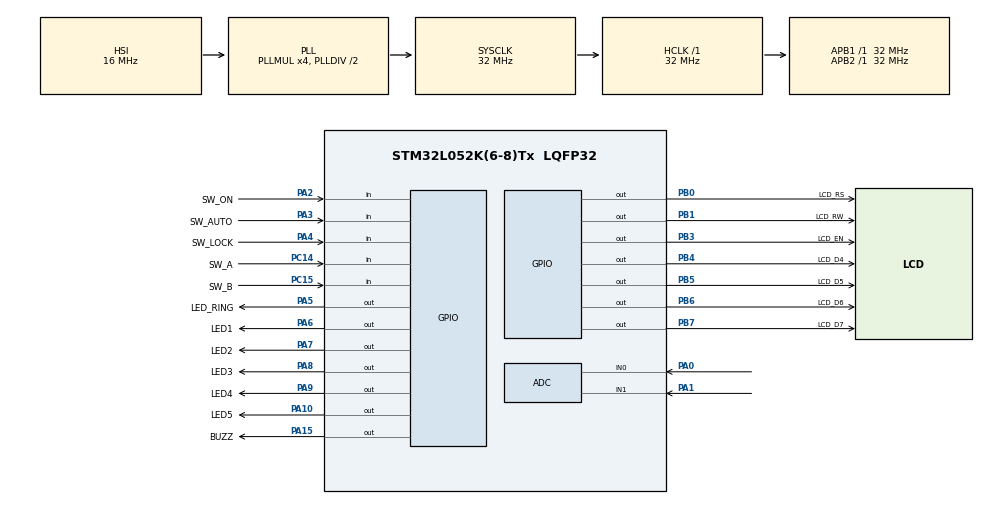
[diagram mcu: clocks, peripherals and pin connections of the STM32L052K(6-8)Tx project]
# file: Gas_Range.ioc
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ADC.SamplingTime=ADC_SAMPLETIME_160CYCLES_5
Mcu.Family=STM32L0
Mcu.Name=STM32L052K(6-8)Tx
Mcu.Package=LQFP32
PA0.Mode=IN0
PA0.Signal=ADC_IN0
PA1.Mode=IN1
PA1.Signal=ADC_IN1
PA10.GPIO_Label=LED5
PA10.GPIO_Speed=GPIO_SPEED_FREQ_VERY_HIGH
PA10.PinState=GPIO_PIN_SET
PA10.Signal=GPIO_Output
PA13.Mode=Serial_Wire
PA13.Signal=SYS_SWDIO
PA14.Mode=Serial_Wire
PA14.Signal=SYS_SWCLK
PA15.GPIO_Label=BUZZ
PA15.GPIO_Speed=GPIO_SPEED_FREQ_VERY_HIGH
PA15.Signal=GPIO_Output
PA2.GPIO_Label=SW_ON
PA2.GPIO_PuPd=GPIO_PULLUP
PA2.Signal=GPIO_Input
PA3.GPIO_Label=SW_AUTO
PA3.GPIO_PuPd=GPIO_PULLUP
PA3.Signal=GPIO_Input
PA4.GPIO_Label=SW_LOCK
PA4.GPIO_PuPd=GPIO_PULLUP
PA4.Signal=GPIO_Input
PA5.GPIO_Label=LED_RING
PA5.GPIO_ModeDefaultOutputPP=GPIO_MODE_OUTPUT_OD
PA5.GPIO_Speed=GPIO_SPEED_FREQ_VERY_HIGH
PA5.Signal=GPIO_Output
PA6.GPIO_Label=LED1
PA6.GPIO_Speed=GPIO_SPEED_FREQ_VERY_HIGH
PA6.PinState=GPIO_PIN_SET
PA6.Signal=GPIO_Output
PA7.GPIO_Label=LED2
PA7.GPIO_Speed=GPIO_SPEED_FREQ_VERY_HIGH
PA7.PinState=GPIO_PIN_SET
PA7.Signal=GPIO_Output
PA8.GPIO_Label=LED3
PA8.GPIO_Speed=GPIO_SPEED_FREQ_VERY_HIGH
PA8.PinState=GPIO_PIN_SET
PA8.Signal=GPIO_Output
PA9.GPIO_Label=LED4
PA9.GPIO_Speed=GPIO_SPEED_FREQ_VERY_HIGH
PA9.PinState=GPIO_PIN_SET
PA9.Signal=GPIO_Output
PB0.GPIO_Label=LCD_RS
PB0.GPIO_Speed=GPIO_SPEED_FREQ_VERY_HIGH
PB0.Signal=GPIO_Output
PB1.GPIO_Label=LCD_RW
PB1.GPIO_Speed=GPIO_SPEED_FREQ_VERY_HIGH
PB1.Signal=GPIO_Output
PB3.GPIO_Label=LCD_EN
PB3.GPIO_Speed=GPIO_SPEED_FREQ_VERY_HIGH
PB3.Signal=GPIO_Output
PB4.GPIO_Label=LCD_D4
PB4.GPIO_Speed=GPIO_SPEED_FREQ_VERY_HIGH
PB4.Signal=GPIO_Output
PB5.GPIO_Label=LCD_D5
PB5.GPIO_Speed=GPIO_SPEED_FREQ_VERY_HIGH
PB5.Signal=GPIO_Output
PB6.GPIO_Label=LCD_D6
PB6.GPIO_Speed=GPIO_SPEED_FREQ_VERY_HIGH
PB6.Signal=GPIO_Output
PB7.GPIO_Label=LCD_D7
PB7.GPIO_Speed=GPIO_SPEED_FREQ_VERY_HIGH
PB7.Signal=GPIO_Output
PC14-OSC32_IN.GPIO_Label=SW_A
PC14-OSC32_IN.GPIO_PuPd=GPIO_PULLUP
PC14-OSC32_IN.Signal=GPIO_Input
PC15-OSC32_OUT.GPIO_Label=SW_B
PC15-OSC32_OUT.GPIO_PuPd=GPIO_PULLUP
PC15-OSC32_OUT.Signal=GPIO_Input
ProjectManager.HeapSize=0x200
ProjectManager.StackSize=0x400
ProjectManager.TargetToolchain=TrueSTUDIO
RCC.AHBFreq_Value=32000000
RCC.APB1Freq_Value=32000000
RCC.APB1TimFreq_Value=32000000
RCC.APB2Freq_Value=32000000
RCC.APB2TimFreq_Value=32000000
RCC.HCLKFreq_Value=32000000
RCC.HSI16_VALUE=16000000
RCC.HSI48_VALUE=48000000
RCC.HSI_VALUE=16000000
RCC.LSE_VALUE=32768
RCC.MSI_VALUE=2097000
RCC.PLLMUL=RCC_PLLMUL_4
RCC.SYSCLKFreq_VALUE=32000000
RCC.SYSCLKSource=RCC_SYSCLKSOURCE_PLLCLK
RCC.VCOOutputFreq_Value=64000000
board=custom

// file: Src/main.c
/* USER CODE BEGIN Header */
/**
 ******************************************************************************
 * @file           : main.c
 * @brief          : Main program body
 ******************************************************************************
 * @attention
 *
 * <h2><center>&copy; Copyright (c) 2020 STMicroelectronics.
 * All rights reserved.</center></h2>
 *
 * This software component is licensed by ST under BSD 3-Clause license,
 * the "License"; You may not use this file except in compliance with the
 * License. You may obtain a copy of the License at:
 *                        opensource.org/licenses/BSD-3-Clause
 *
 ******************************************************************************
 */
/* USER CODE END Header */

#include "main.h"

/* USER CODE BEGIN Includes */
#include <stdio.h>
#include "lcd1602.h"
#include "control_hardware.h"
/* USER CODE END Includes */

/* USER CODE BEGIN PD */

#define OFF 0
#define ON 1
#define ON_NONE 2
#define OVER_HEAT 3
#define AUTO_ADJ 4
#define SAFE_LOCK 5

#define B_TEMP 20

#define CDS 0
#define VR 1

#define CDS_LIMIT 3000

#define SW1 ((SW_ON_GPIO_Port->IDR) & SW_ON_Pin)
#define SW2 ((SW_LOCK_GPIO_Port->IDR) & SW_LOCK_Pin)
#define SW3 ((SW_AUTO_GPIO_Port->IDR) & SW_AUTO_Pin)
#define SW4 ((SW_A_GPIO_Port->IDR) & SW_A_Pin)
#define SW5 ((SW_B_GPIO_Port->IDR) & SW_B_Pin)

#define BUZZ_ON BUZZ_GPIO_Port->BSRR |= BUZZ_Pin;
#define BUZZ_OFF BUZZ_GPIO_Port->BRR |= BUZZ_Pin;

#define LED1_OFF LED1_GPIO_Port->BSRR |= LED1_Pin;
#define LED1_ON LED1_GPIO_Port->BRR |= LED1_Pin;
#define LED2_OFF LED2_GPIO_Port->BSRR |= LED2_Pin;
#define LED2_ON LED2_GPIO_Port->BRR |= LED2_Pin;
#define LED3_OFF LED3_GPIO_Port->BSRR |= LED3_Pin;
#define LED3_ON LED3_GPIO_Port->BRR |= LED3_Pin;
#define LED4_OFF LED4_GPIO_Port->BSRR |= LED4_Pin;
#define LED4_ON LED4_GPIO_Port->BRR |= LED4_Pin;
#define LED5_OFF LED5_GPIO_Port->BSRR |= LED5_Pin;
#define LED5_ON LED5_GPIO_Port->BRR |= LED5_Pin;

/* USER CODE END PD */

ADC_HandleTypeDef hadc;

/* USER CODE BEGIN PV */

int16_t vr;
uint8_t status=0, power=0, auto_adj=0, safe_lock=0, over_heat=0;
uint16_t temper=20, a_temper=20, auto_temper=220, temper_upspeed=900, temper_dnspeed=2900;
uint8_t i, fire=0, fire_ring=0, sw_flag=0, alarm_flag=0;

const char *status_fonts[6]={"OFF      ","ON       ","ON(NONE) ","OVER HEAT","AUTO ADJ ","SAFE LOCK"};

uint32_t r_count, up_count, dn_count, b_count, a_count;

char temp[40];
char temp2[40];
char temp3[40];

char lcd_buff[40];
uint32_t led_ring_data[12];

/* USER CODE END PV */

void SystemClock_Config(void);
static void MX_GPIO_Init(void);
static void MX_ADC_Init(void);

/* USER CODE BEGIN 0 */
uint16_t read_adc(uint8_t x)
{
  uint16_t adc[2];

  HAL_ADC_Start(&hadc);
  HAL_ADC_PollForConversion(&hadc, 1000);
  adc[0]=HAL_ADC_GetValue(&hadc);
  HAL_ADC_PollForConversion(&hadc, 1000);
  adc[1]=HAL_ADC_GetValue(&hadc);
  HAL_ADC_Stop(&hadc);

  return adc[x];
}

void status_cal()
{
  if(over_heat) status=OVER_HEAT;
  else if(safe_lock) status=SAFE_LOCK;
  else if(power==0) status=OFF;
  else if(power && (read_adc(CDS)<CDS_LIMIT)) status=ON_NONE;
  else if(auto_adj && (read_adc(CDS)>=CDS_LIMIT)) status=AUTO_ADJ;
  else if(power && (read_adc(CDS)>=CDS_LIMIT)) status=ON;
}

void lcd_dis()
{
  sprintf(temp,"TEMP:%03d%cC  %c:%d ", temper, 0xDF, 1, fire);
  sprintf(temp2,"%03d",a_temper);
  lcd_gotoxy(1,1); lcd_puts(temp);
  lcd_gotoxy(1,2); lcd_puts("[");
  lcd_gotoxy(11,2); lcd_puts("][");
  lcd_gotoxy(16,2); lcd_puts("]");
  lcd_gotoxy(2,2); lcd_puts(status_fonts[status]);
  lcd_gotoxy(13,2); lcd_puts(temp2);
}

void led_ring()
{
  if((HAL_GetTick()-r_count)>=100)
  {
    if(fire!=fire_ring)
    {
      if(fire>fire_ring) fire_ring++;
      else fire_ring--;
    }

    if(fire_ring>0)
    {
      if(fire_ring<=3)
      {
        for(i=1; i<12; i+=2)
        {
          led_ring_data[i]=led_ring_rgb(0,0,0);
        }
        for(i=2; i<12; i+=4)
        {
          led_ring_data[i]=led_ring_rgb(0,0,0);
        }

        if(fire_ring==1) {led_ring_data[0]=led_ring_data[4]=led_ring_data[8]=led_ring_rgb(0,0,13);}
        else if(fire_ring==2) {led_ring_data[0]=led_ring_data[4]=led_ring_data[8]=led_ring_rgb(0,0,76);}
        else {led_ring_data[0]=led_ring_data[4]=led_ring_data[8]=led_ring_rgb(0,0,255);}
      }
      else {led_ring_data[0]=led_ring_data[4]=led_ring_data[8]=led_ring_rgb(0,0,255);}

      if(fire_ring>3 && fire_ring<=6)
      {
        for(i=1; i<12; i+=2)
        {
          led_ring_data[i]=led_ring_rgb(0,0,0);
        }

        if(fire_ring==4) {led_ring_data[2]=led_ring_data[6]=led_ring_data[10]=led_ring_rgb(0,0,13);}
        else if(fire_ring==5) {led_ring_data[2]=led_ring_data[6]=led_ring_data[10]=led_ring_rgb(0,0,76);}
        else {led_ring_data[2]=led_ring_data[6]=led_ring_data[10]=led_ring_rgb(0,0,255);}
      }

      if(fire_ring>6 && fire_ring<=9)
      {
        if(fire_ring==7) {led_ring_data[1]=led_ring_data[3]=led_ring_data[5]=led_ring_data[7]=led_ring_data[9]=led_ring_data[11]=led_ring_rgb(0,0,13);}
        else if(fire_ring==8) {led_ring_data[1]=led_ring_data[3]=led_ring_data[5]=led_ring_data[7]=led_ring_data[9]=led_ring_data[11]=led_ring_rgb(0,0,76);}
        else {led_ring_data[1]=led_ring_data[3]=led_ring_data[5]=led_ring_data[7]=led_ring_data[9]=led_ring_data[11]=led_ring_rgb(0,0,255);}
      }
    }
    else
    {
      for(i=0; i<12; i++)
      {
        led_ring_data[i]=led_ring_rgb(0,0,0);
      }
    }

    led_ring_update(led_ring_data);
    r_count=HAL_GetTick();
  }
}

void temper_updown()
{
  if((temper-B_TEMP)<10) temper_dnspeed=2900;
  else if((temper-B_TEMP)>=300) temper_dnspeed=100;
  else if((temper-B_TEMP)>=200) temper_dnspeed=200;
  else if((temper-B_TEMP)>=100) temper_dnspeed=400;
  else if((temper-B_TEMP)>=40) temper_dnspeed=700;
  else if((temper-B_TEMP)>=20) temper_dnspeed=1100;
  else if((temper-B_TEMP)>=15) temper_dnspeed=1600;
  else if((temper-B_TEMP)>=10) temper_dnspeed=2200;
  else dn_count=HAL_GetTick();

  if(fire==0) up_count=HAL_GetTick();
  else
  {
    temper_upspeed=(1000-(fire*100));
  }

  if(HAL_GetTick()-dn_count>=temper_dnspeed)
  {
    temper--;
    dn_count=HAL_GetTick();
  }

  if(HAL_GetTick()-up_count>=temper_upspeed)
  {
    temper++;
    up_count=HAL_GetTick();
  }

  if(temper>999) temper=999;
  else if(temper<20) temper=20;

}

void buzz_3sound(uint8_t *b_flag)
{
  if(*b_flag)
  {
    if(HAL_GetTick()-b_count<=200) BUZZ_ON
        else if(HAL_GetTick()-b_count<=400) BUZZ_OFF
        else if(HAL_GetTick()-b_count<=600) BUZZ_ON
        else if(HAL_GetTick()-b_count<=800) BUZZ_OFF
        else if(HAL_GetTick()-b_count<=1000) BUZZ_ON
        else if(HAL_GetTick()-b_count<=1200) BUZZ_OFF
        else
        {
          BUZZ_OFF
          b_count=HAL_GetTick();
          *b_flag=0;
        }
  }
}

void led_con(uint8_t led)
{
  if(led==1)
  {
    LED1_ON
    LED2_OFF
    LED3_OFF
    LED4_OFF
    LED5_OFF
  }
  else if(led==2)
  {
    LED1_OFF
    LED2_ON
    LED3_OFF
    LED4_OFF
    LED5_OFF
  }
  else if(led==3)
  {
    LED1_OFF
    LED2_OFF
    LED3_ON
    LED4_OFF
    LED5_OFF
  }
  else if(led==4)
  {
    LED1_OFF
    LED2_OFF
    LED3_OFF
    LED4_ON
    LED5_OFF
  }
  else if(led==5)
  {
    LED1_OFF
    LED2_OFF
    LED3_OFF
    LED4_OFF
    LED5_ON
  }
  else
  {
    LED1_OFF
    LED2_OFF
    LED3_OFF
    LED4_OFF
    LED5_OFF
  }
}

void auto_adj_mode()
{
  vr = read_adc(VR);

  if(vr<=600) {auto_temper=80; led_con(1);}
  else if(vr<=1600) {auto_temper=100; led_con(2);}
  else if(vr<=2600) {auto_temper=140; led_con(3);}
  else if(vr<=3500) {auto_temper=180; led_con(4);}
  else {auto_temper=220; led_con(5);}

  if(auto_temper-temper>1) fire=9;
  else if(auto_temper-temper<-1) fire=1;
}

void alarm_set()
{
  if(!SW4 || !SW5)
  {
    if(!sw_flag)
    {
      if(!SW4) a_temper-=20;
      else a_temper+=20;

      if(a_temper>280) a_temper=280;
      else if(a_temper<20) a_temper=20;

      sw_flag=1;
    }
  }
  else sw_flag=0;
}

void alarm_buzz()
{
  if((a_temper!=20) && (a_temper<=temper))
  {
    if(alarm_flag==0)
    {
      alarm_flag=1;
      a_count=HAL_GetTick();
    }

    if(HAL_GetTick()-a_count<=100) BUZZ_ON
        else if(HAL_GetTick()-a_count<=200) BUZZ_OFF
        else if(HAL_GetTick()-a_count<=300) BUZZ_ON
        else if(HAL_GetTick()-a_count<=1000) BUZZ_OFF
        else
        {
          BUZZ_OFF
          a_count=HAL_GetTick();
        }
  }
  else
  {
    BUZZ_OFF
    alarm_flag=0;
  }
}

/* USER CODE END 0 */

int main(void)
{
  /* USER CODE BEGIN 1 */

  uint8_t b_flag=0, sw3_flag=0;

  /* USER CODE END 1 */

  /* MCU Configuration--------------------------------------------------------*/

  /* Reset of all peripherals, Initializes the Flash interface and the Systick. */
  HAL_Init();

  /* Configure the system clock */
  SystemClock_Config();

  /* Initialize all configured peripherals */
  MX_GPIO_Init();
  MX_ADC_Init();
  /* USER CODE BEGIN 2 */
  LcdInit();

  lcd_cgram(1,0);

  led_ring_update(led_ring_data);

  lcd_puts("\fSmart Gas Range\n              01");
  HAL_Delay(2000);

  r_count = up_count = dn_count = HAL_GetTick();

  /* USER CODE END 2 */

  /* Infinite loop */
  while (1)
  {

    /* USER CODE BEGIN 3 */

    if(SW1==0) power=1;
    else power=0;

    if(temper>300)
    {
      over_heat=1;
      b_flag=1;
      b_count=HAL_GetTick();
    }

    if(!SW2) safe_lock=1;

    if(!SW3)
    {
      if(!sw3_flag)
      {
        if(!auto_adj) auto_adj=1;
        else auto_adj=0;
      }
      sw3_flag=1;
    }
    else sw3_flag=0;

    status_cal();

    alarm_set();

    if(power && status!=OVER_HEAT && status!=SAFE_LOCK) alarm_buzz();

    if(status==OFF) fire=0;
    else if(status==ON_NONE) fire=1;

    if(status==OVER_HEAT)
    {
      fire=0;
      buzz_3sound(&b_flag);
      if((!power) && temper<150) over_heat=0;
    }

    else if(status==SAFE_LOCK)
    {
      fire=0;
      if(SW2 && SW1) safe_lock=0;
    }

    if(status==ON)
    {
      vr = read_adc(VR);
      vr-=65;
      if(vr<0) vr=0;
      vr/=503.75;
      vr+=1;

      fire=vr;
    }

    if(status==AUTO_ADJ)
    {
      auto_adj_mode();
    }
    else led_con(0);

    led_ring();

    temper_updown();

    lcd_dis();

  }
  /* USER CODE END 3 */
}

void SystemClock_Config(void)
{
  RCC_OscInitTypeDef RCC_OscInitStruct = {0};
  RCC_ClkInitTypeDef RCC_ClkInitStruct = {0};

  /** Configure the main internal regulator output voltage
   */
  __HAL_PWR_VOLTAGESCALING_CONFIG(PWR_REGULATOR_VOLTAGE_SCALE1);
  /** Initializes the CPU, AHB and APB busses clocks
   */
  RCC_OscInitStruct.OscillatorType = RCC_OSCILLATORTYPE_HSI;
  RCC_OscInitStruct.HSIState = RCC_HSI_ON;
  RCC_OscInitStruct.HSICalibrationValue = RCC_HSICALIBRATION_DEFAULT;
  RCC_OscInitStruct.PLL.PLLState = RCC_PLL_ON;
  RCC_OscInitStruct.PLL.PLLSource = RCC_PLLSOURCE_HSI;
  RCC_OscInitStruct.PLL.PLLMUL = RCC_PLLMUL_4;
  RCC_OscInitStruct.PLL.PLLDIV = RCC_PLLDIV_2;
  if (HAL_RCC_OscConfig(&RCC_OscInitStruct) != HAL_OK)
  {
    Error_Handler();
  }
  /** Initializes the CPU, AHB and APB busses clocks
   */
  RCC_ClkInitStruct.ClockType = RCC_CLOCKTYPE_HCLK|RCC_CLOCKTYPE_SYSCLK
      |RCC_CLOCKTYPE_PCLK1|RCC_CLOCKTYPE_PCLK2;
  RCC_ClkInitStruct.SYSCLKSource = RCC_SYSCLKSOURCE_PLLCLK;
  RCC_ClkInitStruct.AHBCLKDivider = RCC_SYSCLK_DIV1;
  RCC_ClkInitStruct.APB1CLKDivider = RCC_HCLK_DIV1;
  RCC_ClkInitStruct.APB2CLKDivider = RCC_HCLK_DIV1;

  if (HAL_RCC_ClockConfig(&RCC_ClkInitStruct, FLASH_LATENCY_1) != HAL_OK)
  {
    Error_Handler();
  }
}

static void MX_ADC_Init(void)
{

  ADC_ChannelConfTypeDef sConfig = {0};

  /** Configure the global features of the ADC (Clock, Resolution, Data Alignment and number of conversion)
   */
  hadc.Instance = ADC1;
  hadc.Init.OversamplingMode = DISABLE;
  hadc.Init.ClockPrescaler = ADC_CLOCK_SYNC_PCLK_DIV2;
  hadc.Init.Resolution = ADC_RESOLUTION_12B;
  hadc.Init.SamplingTime = ADC_SAMPLETIME_160CYCLES_5;
  hadc.Init.ScanConvMode = ADC_SCAN_DIRECTION_FORWARD;
  hadc.Init.DataAlign = ADC_DATAALIGN_RIGHT;
  hadc.Init.ContinuousConvMode = DISABLE;
  hadc.Init.DiscontinuousConvMode = DISABLE;
  hadc.Init.ExternalTrigConvEdge = ADC_EXTERNALTRIGCONVEDGE_NONE;
  hadc.Init.ExternalTrigConv = ADC_SOFTWARE_START;
  hadc.Init.DMAContinuousRequests = DISABLE;
  hadc.Init.EOCSelection = ADC_EOC_SINGLE_CONV;
  hadc.Init.Overrun = ADC_OVR_DATA_PRESERVED;
  hadc.Init.LowPowerAutoWait = DISABLE;
  hadc.Init.LowPowerFrequencyMode = DISABLE;
  hadc.Init.LowPowerAutoPowerOff = DISABLE;
  if (HAL_ADC_Init(&hadc) != HAL_OK)
  {
    Error_Handler();
  }
  /** Configure for the selected ADC regular channel to be converted.
   */
  sConfig.Channel = ADC_CHANNEL_0;
  sConfig.Rank = ADC_RANK_CHANNEL_NUMBER;
  if (HAL_ADC_ConfigChannel(&hadc, &sConfig) != HAL_OK)
  {
    Error_Handler();
  }
  /** Configure for the selected ADC regular channel to be converted.
   */
  sConfig.Channel = ADC_CHANNEL_1;
  if (HAL_ADC_ConfigChannel(&hadc, &sConfig) != HAL_OK)
  {
    Error_Handler();
  }

}

static void MX_GPIO_Init(void)
{
  GPIO_InitTypeDef GPIO_InitStruct = {0};

  /* GPIO Ports Clock Enable */
  __HAL_RCC_GPIOC_CLK_ENABLE();
  __HAL_RCC_GPIOA_CLK_ENABLE();
  __HAL_RCC_GPIOB_CLK_ENABLE();

  /*Configure GPIO pin Output Level */
  HAL_GPIO_WritePin(GPIOA, LED_RING_Pin|BUZZ_Pin, GPIO_PIN_RESET);

  /*Configure GPIO pin Output Level */
  HAL_GPIO_WritePin(GPIOA, LED1_Pin|LED2_Pin|LED3_Pin|LED4_Pin
      |LED5_Pin, GPIO_PIN_SET);

  /*Configure GPIO pin Output Level */
  HAL_GPIO_WritePin(GPIOB, LCD_RS_Pin|LCD_RW_Pin|LCD_EN_Pin|LCD_D4_Pin
      |LCD_D5_Pin|LCD_D6_Pin|LCD_D7_Pin, GPIO_PIN_RESET);

  /*Configure GPIO pins : SW_A_Pin SW_B_Pin */
  GPIO_InitStruct.Pin = SW_A_Pin|SW_B_Pin;
  GPIO_InitStruct.Mode = GPIO_MODE_INPUT;
  GPIO_InitStruct.Pull = GPIO_PULLUP;
  HAL_GPIO_Init(GPIOC, &GPIO_InitStruct);

  /*Configure GPIO pins : SW_ON_Pin SW_AUTO_Pin SW_LOCK_Pin */
  GPIO_InitStruct.Pin = SW_ON_Pin|SW_AUTO_Pin|SW_LOCK_Pin;
  GPIO_InitStruct.Mode = GPIO_MODE_INPUT;
  GPIO_InitStruct.Pull = GPIO_PULLUP;
  HAL_GPIO_Init(GPIOA, &GPIO_InitStruct);

  /*Configure GPIO pin : LED_RING_Pin */
  GPIO_InitStruct.Pin = LED_RING_Pin;
  GPIO_InitStruct.Mode = GPIO_MODE_OUTPUT_OD;
  GPIO_InitStruct.Pull = GPIO_NOPULL;
  GPIO_InitStruct.Speed = GPIO_SPEED_FREQ_VERY_HIGH;
  HAL_GPIO_Init(LED_RING_GPIO_Port, &GPIO_InitStruct);

  /*Configure GPIO pins : LED1_Pin LED2_Pin LED3_Pin LED4_Pin
                           LED5_Pin BUZZ_Pin */
  GPIO_InitStruct.Pin = LED1_Pin|LED2_Pin|LED3_Pin|LED4_Pin
      |LED5_Pin|BUZZ_Pin;
  GPIO_InitStruct.Mode = GPIO_MODE_OUTPUT_PP;
  GPIO_InitStruct.Pull = GPIO_NOPULL;
  GPIO_InitStruct.Speed = GPIO_SPEED_FREQ_VERY_HIGH;
  HAL_GPIO_Init(GPIOA, &GPIO_InitStruct);

  /*Configure GPIO pins : LCD_RS_Pin LCD_RW_Pin LCD_EN_Pin LCD_D4_Pin
                           LCD_D5_Pin LCD_D6_Pin LCD_D7_Pin */
  GPIO_InitStruct.Pin = LCD_RS_Pin|LCD_RW_Pin|LCD_EN_Pin|LCD_D4_Pin
      |LCD_D5_Pin|LCD_D6_Pin|LCD_D7_Pin;
  GPIO_InitStruct.Mode = GPIO_MODE_OUTPUT_PP;
  GPIO_InitStruct.Pull = GPIO_NOPULL;
  GPIO_InitStruct.Speed = GPIO_SPEED_FREQ_VERY_HIGH;
  HAL_GPIO_Init(GPIOB, &GPIO_InitStruct);

}

void Error_Handler(void)
{
}

/************************ (C) COPYRIGHT STMicroelectronics *****END OF FILE****/
